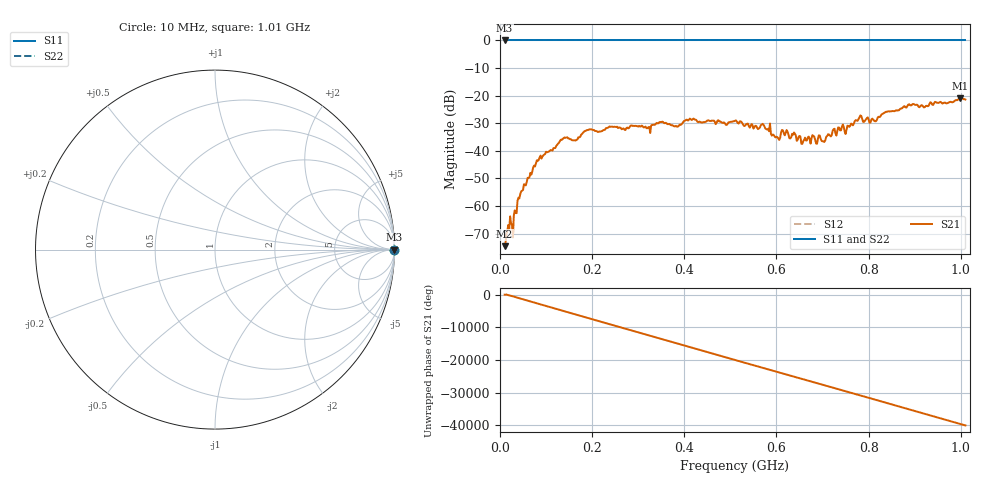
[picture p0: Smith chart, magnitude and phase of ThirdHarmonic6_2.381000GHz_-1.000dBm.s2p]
! 8/17/2025 3:47:47 AM
! C:\ANRITSUVNA\TEMP\TEMP.S2P
! CHANNEL.1
! TR.MEASUREMENT
! RAW.DATA
! RF.CORRECTION.OFF
! AVERAGING.OFF
! IF.BANDWIDTH: 5KHZ
! SWEEPTYPE:  FREQ.SWEEP(Linear)
! Reference Plane Port Info
! PORT:  PORT1  PORT2
! DISTANCE:  0  m  0  m
! TIME:  0  s  0  s
! PHASE.OFFSET:  0  deg.  0  deg.
! LOSS:  0  dB  0  dB
! REF.LOSS:  0  dB  0  dB
! REF.FREQ:  0  Hz  0  Hz
! Power Info
! POWER:  -20  dBm  -20  dBm
! EFF.POWER:  -20  dBm  -20  dBm
! SOURCE.ATTEN:  0  dB  0  dB
! TEST.ATTEN:  0  dB  0  dB
# GHZ S RI R 50.0
! FREQ.GHZ  S11RE  S11IM  S21RE  S21IM  S12RE  S12IM  S22RE  S22IM
!; PortSelection: Port_12
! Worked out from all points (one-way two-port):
!   501 points, 10 MHz to 1.01 GHz, reference 50 ohm
!   highest |S21| = -20.90 dB at 998 MHz (marker M1); lowest = -74.6 dB at 10 MHz (marker M2)
!   lowest |S11| = 0.0 dB at 10 MHz (marker M3)
!   |S11| at or under -10 dB: nowhere
!   |S22| runs from 0.0 to 0.0 dB; largest |S21 - S12| = 1.1
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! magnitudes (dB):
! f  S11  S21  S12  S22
! 10 MHz  0.0  -74.6  0.0  0.0
! 18 MHz  0.0  -66.9  0.0  0.0
! 32 MHz  0.0  -61.6  0.0  0.0
! 42 MHz  0.0  -57.3  0.0  0.0
! 84 MHz  0.0  -43.3  0.0  0.0
! 136 MHz  0.0  -35.7  0.0  0.0
! 178 MHz  0.0  -33.9  0.0  0.0
! 240 MHz  0.0  -31.3  0.0  0.0
! 322 MHz  0.0  -31.4  0.0  0.0
! 344 MHz  0.0  -30.0  0.0  0.0
! 510 MHz  0.0  -29.1  0.0  0.0
! 570 MHz  0.0  -30.2  0.0  0.0
! 602 MHz  0.0  -35.1  0.0  0.0
! 614 MHz  0.0  -32.6  0.0  0.0
! 658 MHz  0.0  -36.6  0.0  0.0
! 678 MHz  0.0  -34.3  0.0  0.0
! 702 MHz  0.0  -36.6  0.0  0.0
! 780 MHz  0.0  -27.9  0.0  0.0
! 814 MHz  0.0  -29.3  0.0  0.0
! 844 MHz  0.0  -25.7  0.0  0.0
! 998 MHz  0.0  -20.9  0.0  0.0
! 1.01 GHz  0.0  -21.4  0.0  0.0
